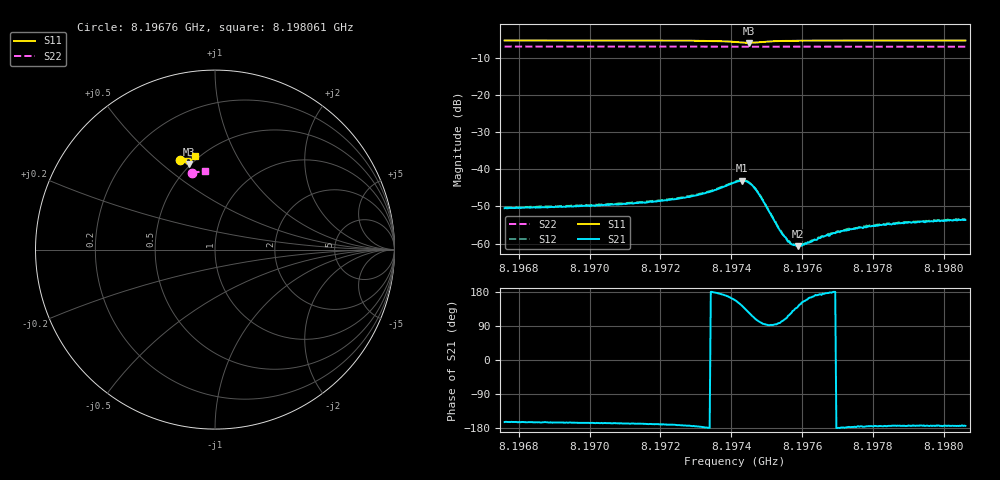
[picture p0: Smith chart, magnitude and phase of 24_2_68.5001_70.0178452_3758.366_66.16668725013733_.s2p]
#  HZ  S  RI  R  50.00
! Rohde & Schwarz Vector Network Analyzer
! Rohde-Schwarz,ZNB20-2Port,1311601062101988,3.16
! Created: UTC 3/20/2024, 4:49:39 PM
! freq[Hz]  re:S11  im:S11  re:S21  im:S21  re:S12  im:S12  re:S22  im:S22
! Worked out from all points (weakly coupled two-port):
!   401 points, 8.19676 GHz to 8.198061 GHz, reference 50 ohm
!   highest |S21| = -43.10 dB at 8.19743 GHz (marker M1); lowest = -60.7 dB at 8.19759 GHz (marker M2)
!   lowest |S11| = -6.1 dB at 8.19745 GHz (marker M3), VSWR 2.99, Z = 24.5 + j31.1 ohm
!   |S11| at or under -10 dB: nowhere
!   |S22| runs from -7.1 to -7.0 dB; largest |S21 - S12| = 0.0004
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8.1967597e9  -0.1963 0.4992  -0.00287 -0.000837  -0.00295 -0.000755  -0.1279 0.4257
8.1969777e9  -0.1805 0.5045  -0.00312 -0.000784  -0.00321 -0.000711  -0.116 0.4286
8.1971958e9  -0.1626 0.5094  -0.00367 -0.000669  -0.00378 -0.000531  -0.1039 0.4313
8.1973097e9  -0.1495 0.5102  -0.00454 -0.000348  -0.00467 -0.000138  -0.0976 0.4326
8.197352e9  -0.1424 0.5082  -0.00523 0.000142  -0.0053 0.000392  -0.0953 0.4328
8.1974105e9  -0.1317 0.4949  -0.00617 0.00251  -0.00616 0.00287  -0.0917 0.4332
8.1974301e9  -0.1336 0.485  -0.00563 0.00416  -0.00553 0.0045  -0.0909 0.433
8.1974496e9  -0.1432 0.4773  -0.00378 0.00537  -0.00358 0.00562  -0.0901 0.4331
8.1974626e9  -0.1519 0.4773  -0.00231 0.00535  -0.00204 0.00549  -0.0895 0.4334
8.1974789e9  -0.1598 0.4828  -0.00088 0.00447  -0.000722 0.00457  -0.0888 0.4336
8.1975375e9  -0.1606 0.5024  -0.000203 0.0015  -0.000171 0.00154  -0.0856 0.4345
8.1975537e9  -0.1585 0.5052  -0.000399 0.00115  -0.000418 0.00112  -0.0847 0.4349
8.1975635e9  -0.1572 0.5068  -0.0005 0.00093  -0.000491 0.000971  -0.0843 0.4349
8.1975733e9  -0.1561 0.5078  -0.000617 0.000742  -0.000545 0.00079  -0.0836 0.4351
8.1975895e9  -0.1541 0.5095  -0.00073 0.000565  -0.000731 0.000601  -0.0827 0.4352
8.1976123e9  -0.1514 0.5112  -0.000925 0.000357  -0.000914 0.000401  -0.0813 0.4355
8.1976286e9  -0.1497 0.5123  -0.00105 0.000244  -0.00107 0.00028  -0.0805 0.4356
8.1976644e9  -0.146 0.514  -0.00125 9.39e-05  -0.00126 0.000147  -0.0784 0.4358
8.1977262e9  -0.1402 0.5162  -0.0015 -6.88e-05  -0.00157 1.13e-05  -0.075 0.4364
8.1978466e9  -0.1302 0.5193  -0.00181 -0.0002  -0.00186 -0.000156  -0.0682 0.4373
8.1979345e9  -0.1234 0.521  -0.00196 -0.000254  -0.00198 -0.000115  -0.0632 0.438
8.1980614e9  -0.1138 0.5232  -0.00207 -0.000225  -0.00213 -0.000142  -0.0561 0.4387
